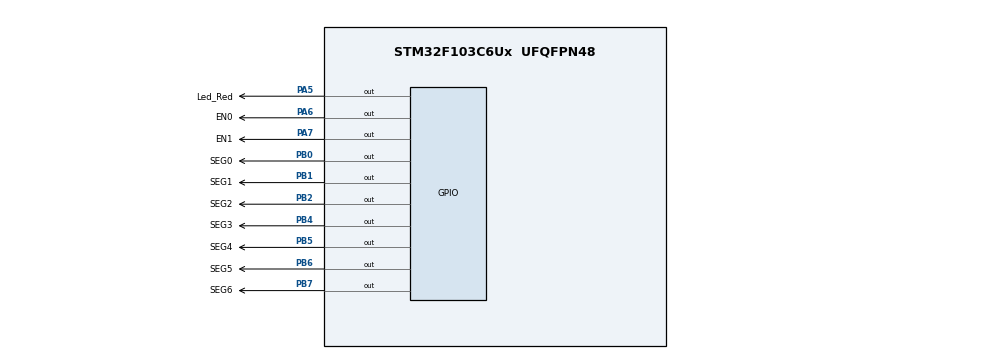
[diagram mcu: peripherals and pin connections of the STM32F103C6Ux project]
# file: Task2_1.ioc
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Mcu.Family=STM32F1
Mcu.Name=STM32F103C6Ux
Mcu.Package=UFQFPN48
NVIC.PriorityGroup=NVIC_PRIORITYGROUP_4
NVIC.TIM2_IRQn=true\:0\:0\:false\:false\:true\:true\:true\:true
PA5.GPIO_Label=Led_Red
PA5.Signal=GPIO_Output
PA6.GPIO_Label=EN0
PA6.Signal=GPIO_Output
PA7.GPIO_Label=EN1
PA7.Signal=GPIO_Output
PB0.GPIO_Label=SEG0
PB0.Signal=GPIO_Output
PB1.GPIO_Label=SEG1
PB1.Signal=GPIO_Output
PB2.GPIO_Label=SEG2
PB2.Signal=GPIO_Output
PB4.GPIO_Label=SEG3
PB4.Signal=GPIO_Output
PB5.GPIO_Label=SEG4
PB5.Signal=GPIO_Output
PB6.GPIO_Label=SEG5
PB6.Signal=GPIO_Output
PB7.GPIO_Label=SEG6
PB7.Signal=GPIO_Output
ProjectManager.HeapSize=0x200
ProjectManager.StackSize=0x400
ProjectManager.TargetToolchain=STM32CubeIDE
RCC.APB1Freq_Value=8000000
RCC.APB2Freq_Value=8000000
TIM2.Period=9 
TIM2.Prescaler=7999
VP_SYS_VS_ND.Mode=No_Debug
VP_TIM2_VS_ClockSourceINT.Mode=Internal
board=custom

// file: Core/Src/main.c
/* USER CODE BEGIN Header */
/**
  ******************************************************************************
  * @file           : main.c
  * @brief          : Main program body
  ******************************************************************************
  * @attention
  *
  * <h2><center>&copy; Copyright (c) 2022 STMicroelectronics.
  * All rights reserved.</center></h2>
  *
  * This software component is licensed by ST under BSD 3-Clause license,
  * the "License"; You may not use this file except in compliance with the
  * License. You may obtain a copy of the License at:
  *                        opensource.org/licenses/BSD-3-Clause
  *
  ******************************************************************************
  */
/* USER CODE END Header */
#include "main.h"

/* USER CODE BEGIN Includes */
#include "software_timmer.h"
/* USER CODE END Includes */

TIM_HandleTypeDef htim2;

void SystemClock_Config(void);
static void MX_GPIO_Init(void);
static void MX_TIM2_Init(void);

/* USER CODE BEGIN 0 */
void display7SEG( int counter);
/* USER CODE END 0 */

int main(void)
{

  /* MCU Configuration--------------------------------------------------------*/

  /* Reset of all peripherals, Initializes the Flash interface and the Systick. */
  HAL_Init();

  /* Configure the system clock */
  SystemClock_Config();

  /* Initialize all configured peripherals */
  MX_GPIO_Init();
  MX_TIM2_Init();
  /* USER CODE BEGIN 2 */
  HAL_TIM_Base_Start_IT (& htim2 ) ;
  /* USER CODE END 2 */

  /* Infinite loop */
  while (1)
  {
  }
}

void SystemClock_Config(void)
{
  RCC_OscInitTypeDef RCC_OscInitStruct = {0};
  RCC_ClkInitTypeDef RCC_ClkInitStruct = {0};

  /** Initializes the RCC Oscillators according to the specified parameters
  * in the RCC_OscInitTypeDef structure.
  */
  RCC_OscInitStruct.OscillatorType = RCC_OSCILLATORTYPE_HSI;
  RCC_OscInitStruct.HSIState = RCC_HSI_ON;
  RCC_OscInitStruct.HSICalibrationValue = RCC_HSICALIBRATION_DEFAULT;
  RCC_OscInitStruct.PLL.PLLState = RCC_PLL_NONE;
  if (HAL_RCC_OscConfig(&RCC_OscInitStruct) != HAL_OK)
  {
    Error_Handler();
  }
  /** Initializes the CPU, AHB and APB buses clocks
  */
  RCC_ClkInitStruct.ClockType = RCC_CLOCKTYPE_HCLK|RCC_CLOCKTYPE_SYSCLK
                              |RCC_CLOCKTYPE_PCLK1|RCC_CLOCKTYPE_PCLK2;
  RCC_ClkInitStruct.SYSCLKSource = RCC_SYSCLKSOURCE_HSI;
  RCC_ClkInitStruct.AHBCLKDivider = RCC_SYSCLK_DIV1;
  RCC_ClkInitStruct.APB1CLKDivider = RCC_HCLK_DIV1;
  RCC_ClkInitStruct.APB2CLKDivider = RCC_HCLK_DIV1;

  if (HAL_RCC_ClockConfig(&RCC_ClkInitStruct, FLASH_LATENCY_0) != HAL_OK)
  {
    Error_Handler();
  }
}

static void MX_TIM2_Init(void)
{

  TIM_ClockConfigTypeDef sClockSourceConfig = {0};
  TIM_MasterConfigTypeDef sMasterConfig = {0};

  htim2.Instance = TIM2;
  htim2.Init.Prescaler = 7999;
  htim2.Init.CounterMode = TIM_COUNTERMODE_UP;
  htim2.Init.Period = 9 ;
  htim2.Init.ClockDivision = TIM_CLOCKDIVISION_DIV1;
  htim2.Init.AutoReloadPreload = TIM_AUTORELOAD_PRELOAD_DISABLE;
  if (HAL_TIM_Base_Init(&htim2) != HAL_OK)
  {
    Error_Handler();
  }
  sClockSourceConfig.ClockSource = TIM_CLOCKSOURCE_INTERNAL;
  if (HAL_TIM_ConfigClockSource(&htim2, &sClockSourceConfig) != HAL_OK)
  {
    Error_Handler();
  }
  sMasterConfig.MasterOutputTrigger = TIM_TRGO_RESET;
  sMasterConfig.MasterSlaveMode = TIM_MASTERSLAVEMODE_DISABLE;
  if (HAL_TIMEx_MasterConfigSynchronization(&htim2, &sMasterConfig) != HAL_OK)
  {
    Error_Handler();
  }

}

static void MX_GPIO_Init(void)
{
  GPIO_InitTypeDef GPIO_InitStruct = {0};

  /* GPIO Ports Clock Enable */
  __HAL_RCC_GPIOA_CLK_ENABLE();
  __HAL_RCC_GPIOB_CLK_ENABLE();

  /*Configure GPIO pin Output Level */
  HAL_GPIO_WritePin(GPIOA, Led_Red_Pin|EN0_Pin|EN1_Pin, GPIO_PIN_RESET);

  /*Configure GPIO pin Output Level */
  HAL_GPIO_WritePin(GPIOB, SEG0_Pin|SEG1_Pin|SEG2_Pin|SEG3_Pin
                          |SEG4_Pin|SEG5_Pin|SEG6_Pin, GPIO_PIN_RESET);

  /*Configure GPIO pins : Led_Red_Pin EN0_Pin EN1_Pin */
  GPIO_InitStruct.Pin = Led_Red_Pin|EN0_Pin|EN1_Pin;
  GPIO_InitStruct.Mode = GPIO_MODE_OUTPUT_PP;
  GPIO_InitStruct.Pull = GPIO_NOPULL;
  GPIO_InitStruct.Speed = GPIO_SPEED_FREQ_LOW;
  HAL_GPIO_Init(GPIOA, &GPIO_InitStruct);

  /*Configure GPIO pins : SEG0_Pin SEG1_Pin SEG2_Pin SEG3_Pin
                           SEG4_Pin SEG5_Pin SEG6_Pin */
  GPIO_InitStruct.Pin = SEG0_Pin|SEG1_Pin|SEG2_Pin|SEG3_Pin
                          |SEG4_Pin|SEG5_Pin|SEG6_Pin;
  GPIO_InitStruct.Mode = GPIO_MODE_OUTPUT_PP;
  GPIO_InitStruct.Pull = GPIO_NOPULL;
  GPIO_InitStruct.Speed = GPIO_SPEED_FREQ_LOW;
  HAL_GPIO_Init(GPIOB, &GPIO_InitStruct);

}

/* USER CODE BEGIN 4 */
int counter = 50;
int count = 0;
int led_status= 0;
void HAL_TIM_PeriodElapsedCallback ( TIM_HandleTypeDef * htim ){
	counter--;
	if(counter <=0){
		counter = 50;
		// Led 1 on, 2 off
		if(led_status%2==0){
			HAL_GPIO_WritePin(EN0_GPIO_Port, EN0_Pin, RESET);
			HAL_GPIO_WritePin(EN1_GPIO_Port, EN1_Pin, SET);
			display7SEG(count);
		}
		// Led 1 off, 2 on
		else{
			HAL_GPIO_WritePin(EN0_GPIO_Port, EN0_Pin, SET);
			HAL_GPIO_WritePin(EN1_GPIO_Port, EN1_Pin, RESET);
			display7SEG(count);
		}
		count++;
		led_status= 1 - led_status;
		//reset
		if(count > 9){count = 0;}
	}
}
void display7SEG( int counter){
	switch(counter){
	case 0:
		HAL_GPIO_WritePin(SEG0_GPIO_Port, SEG0_Pin, RESET);
		HAL_GPIO_WritePin(SEG1_GPIO_Port, SEG1_Pin, RESET);
		HAL_GPIO_WritePin(SEG2_GPIO_Port, SEG2_Pin, RESET);
		HAL_GPIO_WritePin(SEG3_GPIO_Port, SEG3_Pin, RESET);
		HAL_GPIO_WritePin(SEG4_GPIO_Port, SEG4_Pin, RESET);
		HAL_GPIO_WritePin(SEG5_GPIO_Port, SEG5_Pin, RESET);
		HAL_GPIO_WritePin(SEG6_GPIO_Port, SEG6_Pin, SET);
		break;

	case 1:
		HAL_GPIO_WritePin(SEG0_GPIO_Port, SEG0_Pin, SET);
		HAL_GPIO_WritePin(SEG1_GPIO_Port, SEG1_Pin, RESET);
		HAL_GPIO_WritePin(SEG2_GPIO_Port, SEG2_Pin, RESET);
		HAL_GPIO_WritePin(SEG3_GPIO_Port, SEG3_Pin, SET);
		HAL_GPIO_WritePin(SEG4_GPIO_Port, SEG4_Pin, SET);
		HAL_GPIO_WritePin(SEG5_GPIO_Port, SEG5_Pin, SET);
		HAL_GPIO_WritePin(SEG6_GPIO_Port, SEG6_Pin, SET);
		break;

	case 2:
		HAL_GPIO_WritePin(SEG0_GPIO_Port, SEG0_Pin, RESET);
		HAL_GPIO_WritePin(SEG1_GPIO_Port, SEG1_Pin, RESET);
		HAL_GPIO_WritePin(SEG2_GPIO_Port, SEG2_Pin, SET);
		HAL_GPIO_WritePin(SEG3_GPIO_Port, SEG3_Pin, RESET);
		HAL_GPIO_WritePin(SEG4_GPIO_Port, SEG4_Pin, RESET);
		HAL_GPIO_WritePin(SEG5_GPIO_Port, SEG5_Pin, SET);
		HAL_GPIO_WritePin(SEG6_GPIO_Port, SEG6_Pin, RESET);
		break;

	case 3:
		HAL_GPIO_WritePin(SEG0_GPIO_Port, SEG0_Pin, RESET);
		HAL_GPIO_WritePin(SEG1_GPIO_Port, SEG1_Pin, RESET);
		HAL_GPIO_WritePin(SEG2_GPIO_Port, SEG2_Pin, RESET);
		HAL_GPIO_WritePin(SEG3_GPIO_Port, SEG3_Pin, RESET);
		HAL_GPIO_WritePin(SEG4_GPIO_Port, SEG4_Pin, SET);
		HAL_GPIO_WritePin(SEG5_GPIO_Port, SEG5_Pin, SET);
		HAL_GPIO_WritePin(SEG6_GPIO_Port, SEG6_Pin, RESET);
		break;

	case 4:
		HAL_GPIO_WritePin(SEG0_GPIO_Port, SEG0_Pin, SET);
		HAL_GPIO_WritePin(SEG1_GPIO_Port, SEG1_Pin, RESET);
		HAL_GPIO_WritePin(SEG2_GPIO_Port, SEG2_Pin, RESET);
		HAL_GPIO_WritePin(SEG3_GPIO_Port, SEG3_Pin, SET);
		HAL_GPIO_WritePin(SEG4_GPIO_Port, SEG4_Pin, SET);
		HAL_GPIO_WritePin(SEG5_GPIO_Port, SEG5_Pin, RESET);
		HAL_GPIO_WritePin(SEG6_GPIO_Port, SEG6_Pin, RESET);
		break;

	case 5:
		HAL_GPIO_WritePin(SEG0_GPIO_Port, SEG0_Pin, RESET);
		HAL_GPIO_WritePin(SEG1_GPIO_Port, SEG1_Pin, SET);
		HAL_GPIO_WritePin(SEG2_GPIO_Port, SEG2_Pin, RESET);
		HAL_GPIO_WritePin(SEG3_GPIO_Port, SEG3_Pin, RESET);
		HAL_GPIO_WritePin(SEG4_GPIO_Port, SEG4_Pin, SET);
		HAL_GPIO_WritePin(SEG5_GPIO_Port, SEG5_Pin, RESET);
		HAL_GPIO_WritePin(SEG6_GPIO_Port, SEG6_Pin, RESET);
		break;

	case 6:
		HAL_GPIO_WritePin(SEG0_GPIO_Port, SEG0_Pin, RESET);
		HAL_GPIO_WritePin(SEG1_GPIO_Port, SEG1_Pin, SET);
		HAL_GPIO_WritePin(SEG2_GPIO_Port, SEG2_Pin, RESET);
		HAL_GPIO_WritePin(SEG3_GPIO_Port, SEG3_Pin, RESET);
		HAL_GPIO_WritePin(SEG4_GPIO_Port, SEG4_Pin, RESET);
		HAL_GPIO_WritePin(SEG5_GPIO_Port, SEG5_Pin, RESET);
		HAL_GPIO_WritePin(SEG6_GPIO_Port, SEG6_Pin, RESET);
		break;

	case 7:
		HAL_GPIO_WritePin(SEG0_GPIO_Port, SEG0_Pin, RESET);
		HAL_GPIO_WritePin(SEG1_GPIO_Port, SEG1_Pin, RESET);
		HAL_GPIO_WritePin(SEG2_GPIO_Port, SEG2_Pin, RESET);
		HAL_GPIO_WritePin(SEG3_GPIO_Port, SEG3_Pin, SET);
		HAL_GPIO_WritePin(SEG4_GPIO_Port, SEG4_Pin, SET);
		HAL_GPIO_WritePin(SEG5_GPIO_Port, SEG5_Pin, SET);
		HAL_GPIO_WritePin(SEG6_GPIO_Port, SEG6_Pin, SET);
		break;

	case 8:
		HAL_GPIO_WritePin(SEG0_GPIO_Port, SEG0_Pin, RESET);
		HAL_GPIO_WritePin(SEG1_GPIO_Port, SEG1_Pin, RESET);
		HAL_GPIO_WritePin(SEG2_GPIO_Port, SEG2_Pin, RESET);
		HAL_GPIO_WritePin(SEG3_GPIO_Port, SEG3_Pin, RESET);
		HAL_GPIO_WritePin(SEG4_GPIO_Port, SEG4_Pin, RESET);
		HAL_GPIO_WritePin(SEG5_GPIO_Port, SEG5_Pin, RESET);
		HAL_GPIO_WritePin(SEG6_GPIO_Port, SEG6_Pin, RESET);
		break;

	case 9:
		HAL_GPIO_WritePin(SEG0_GPIO_Port, SEG0_Pin, RESET);
		HAL_GPIO_WritePin(SEG1_GPIO_Port, SEG1_Pin, RESET);
		HAL_GPIO_WritePin(SEG2_GPIO_Port, SEG2_Pin, RESET);
		HAL_GPIO_WritePin(SEG3_GPIO_Port, SEG3_Pin, RESET);
		HAL_GPIO_WritePin(SEG4_GPIO_Port, SEG4_Pin, SET);
		HAL_GPIO_WritePin(SEG5_GPIO_Port, SEG5_Pin, RESET);
		HAL_GPIO_WritePin(SEG6_GPIO_Port, SEG6_Pin, RESET);
		break;

	default:
	break;
	}
}
/* USER CODE END 4 */

void Error_Handler(void)
{
  __disable_irq();
  while (1)
  {
  }
}

/************************ (C) COPYRIGHT STMicroelectronics *****END OF FILE****/
